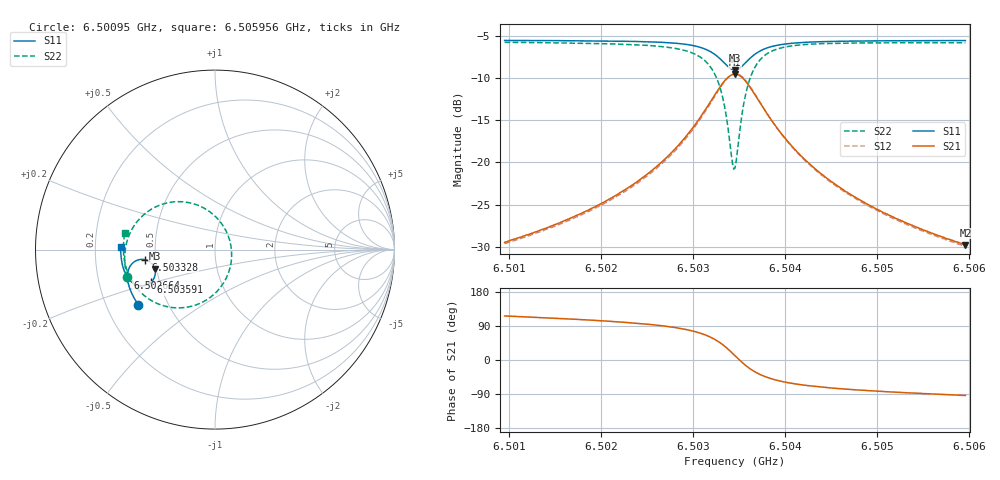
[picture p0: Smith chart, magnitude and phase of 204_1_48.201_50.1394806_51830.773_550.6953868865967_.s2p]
#  HZ  S  RI  R  50.00
! Rohde & Schwarz Vector Network Analyzer
! Rohde-Schwarz,ZNB20-2Port,1311601062101988,3.16
! Created: UTC 3/20/2024, 11:45:09 AM
! freq[Hz]  re:S11  im:S11  re:S21  im:S21  re:S12  im:S12  re:S22  im:S22
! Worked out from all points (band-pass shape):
!   401 points, 6.50095 GHz to 6.505956 GHz, reference 50 ohm
!   highest |S21| = -9.56 dB at 6.503453 GHz (marker M1); lowest = -29.8 dB at 6.505956 GHz (marker M2)
!   |S21| within 3 dB of the highest: 6.503202 GHz to 6.503703 GHz (501.6 kHz wide, 0.00771 % of centre)
!   lowest |S11| = -9.1 dB at 6.503453 GHz (marker M3), VSWR 2.09, Z = 24.4 - j5.93 ohm
!   |S11| at or under -10 dB: nowhere
!   |S22| runs from -20.8 to -5.8 dB; largest |S21 - S12| = 0.012
!   S11 on the Smith chart (normalised r, x): 6.50095 GHz: 0.34, -0.29; 6.502664 GHz: 0.33, -0.14; 6.503328 GHz: 0.44, -0.06; 6.503591 GHz: 0.45, -0.19; 6.505956 GHz: 0.31, +0.01
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6.5009495e9  -0.4263 -0.3091  -0.0148 0.0302  -0.0133 0.0303  -0.49 -0.154
6.5017882e9  -0.4624 -0.2471  -0.0143 0.048  -0.0119 0.0476  -0.503 -0.0649
6.5022764e9  -0.4794 -0.2035  -0.0109 0.0691  -0.0078 0.0678  -0.4992 0.00535
6.5026269e9  -0.4874 -0.1643  -0.00213 0.0972  0.00155 0.0949  -0.48 0.0765
6.5026644e9  -0.4877 -0.1593  -0.000226 0.1014  0.00339 0.0989  -0.4761 0.086
6.5029398e9  -0.4837 -0.1165  0.0267 0.1442  0.0305 0.1397  -0.4199 0.1722
6.5031276e9  -0.4619 -0.0782  0.0815 0.1866  0.0841 0.1803  -0.315 0.245
6.5032402e9  -0.4289 -0.0576  0.1515 0.204  0.1522 0.1976  -0.1889 0.2668
6.5033278e9  -0.388 -0.0563  0.2318 0.1871  0.2321 0.182  -0.0503 0.2248
6.5034155e9  -0.346 -0.0848  0.3088 0.1136  0.3111 0.109  0.0722 0.0803
6.5034405e9  -0.3381 -0.0988  0.3221 0.0823  0.325 0.077  0.0887 0.0213
6.503453e9  -0.3354 -0.1064  0.326 0.0657  0.3295 0.0599  0.0923 -0.00954
6.503478e9  -0.3326 -0.1223  0.3296 0.0316  0.3331 0.0246  0.0898 -0.0719
6.5035406e9  -0.3401 -0.1598  0.3104 -0.047  0.3126 -0.057  0.0322 -0.2081
6.5035907e9  -0.3566 -0.1819  0.2765 -0.0925  0.2761 -0.1039  -0.0452 -0.2791
6.5037034e9  -0.4014 -0.2012  0.1914 -0.1371  0.1858 -0.1467  -0.2177 -0.3244
6.5038661e9  -0.4477 -0.1915  0.109 -0.1335  0.1019 -0.1386  -0.3659 -0.2768
6.5040413e9  -0.4754 -0.1702  0.0643 -0.1131  0.0579 -0.1154  -0.4382 -0.2112
6.5042917e9  -0.4961 -0.1403  0.0342 -0.0886  0.0294 -0.0889  -0.4817 -0.1386
6.5046672e9  -0.5117 -0.101  0.0149 -0.0651  0.0117 -0.0648  -0.5042 -0.0635
6.5051303e9  -0.5211 -0.0581  0.00507 -0.0483  0.00271 -0.0477  -0.5104 0.00227
6.5059565e9  -0.5259 0.0119  -0.00199 -0.0325  -0.00338 -0.0318  -0.5025 0.0899
